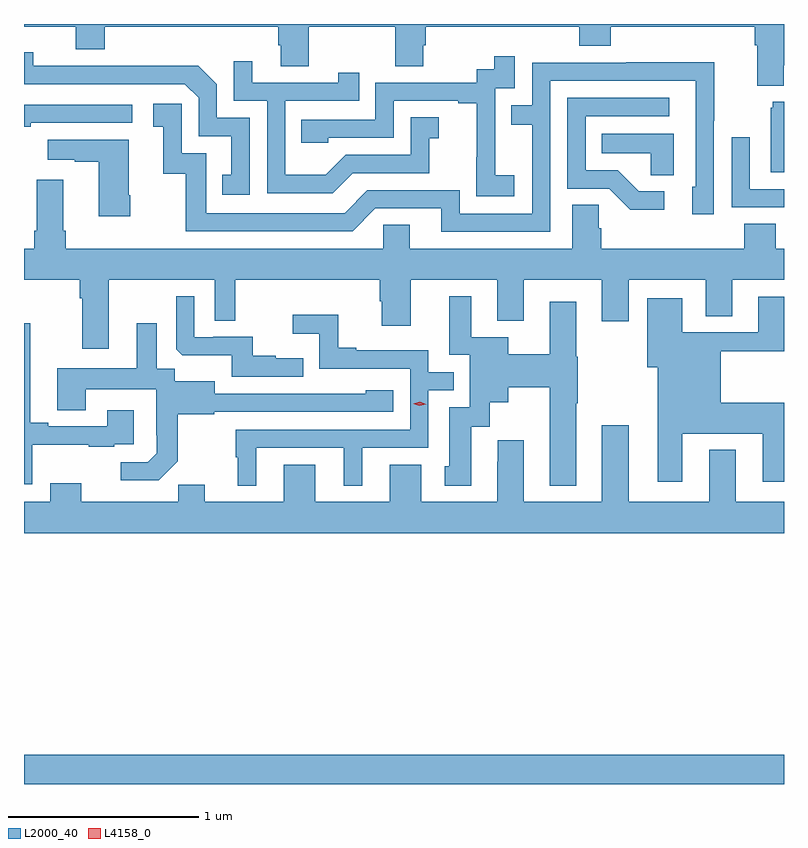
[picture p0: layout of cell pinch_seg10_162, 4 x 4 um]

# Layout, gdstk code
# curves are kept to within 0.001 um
import gdstk
lib = gdstk.Library(unit=1e-6, precision=1e-09)
def R(c, l, rs):  # rectangles x0, y0, x1, y1
    for r in rs: c.add(gdstk.rectangle(r[:2], r[2:], *l))
def P(c, l, *ps):  # polygons
    for p in ps: c.add(gdstk.Polygon(p, *l))
L2000_40 = (2000, 40)
L4158_0 = (4158, 0)

pinch_seg10_162 = lib.new_cell('pinch_seg10_162')
R(pinch_seg10_162, L2000_40, [(652.019,1251.043,656.019,1251.196)])
P(pinch_seg10_162, L2000_40, [(652.019,1255.028),(652.292,1255.028),(652.292,1254.911),(652.445,1254.911),(652.445,1255.028),(653.357,1255.028),(653.357,1254.93),(653.369,1254.93),(653.369,1254.82),(653.517,1254.82),(653.517,1255.028),(653.974,1255.028),(653.974,1254.82),(654.121,1254.82),(654.121,1254.93),(654.134,1254.93),(654.134,1255.028),(654.941,1255.028),(654.941,1254.929),(655.106,1254.929),(655.106,1255.028),(655.865,1255.028),(655.865,1254.932),(655.877,1254.932),(655.877,1254.719),(656.017,1254.719),(656.017,1254.826),(656.019,1254.826),(656.019,1255.043),(652.019,1255.043)],
  [(653.208,1254.549),(653.034,1254.549),(653.034,1254.726),(652.936,1254.824),(652.528,1254.824),(652.528,1254.822),(652.068,1254.822),(652.068,1254.895),(652.019,1254.895),(652.019,1254.726),(652.866,1254.726),(652.938,1254.654),(652.938,1254.453),(653.111,1254.453),(653.111,1254.249),(653.062,1254.249),(653.062,1254.144),(653.208,1254.144)],
  [(654.598,1254.247),(654.5,1254.247),(654.5,1254.476),(654.498,1254.476),(654.498,1254.705),(654.603,1254.705),(654.603,1254.874),(654.495,1254.874),(654.495,1254.804),(654.402,1254.804),(654.402,1254.735),(653.868,1254.735),(653.868,1254.54),(653.479,1254.54),(653.479,1254.417),(653.619,1254.417),(653.619,1254.444),(653.964,1254.444),(653.964,1254.639),(654.305,1254.639),(654.305,1254.627),(654.401,1254.627),(654.401,1254.343),(654.4,1254.343),(654.4,1254.137),(654.598,1254.137)],
  [(653.749,1254.258),(654.153,1254.258),(654.153,1254.443),(654.202,1254.443),(654.202,1254.553),(654.054,1254.553),(654.054,1254.354),(653.712,1254.354),(653.608,1254.25),(653.394,1254.25),(653.394,1254.639),(653.783,1254.639),(653.783,1254.787),(653.672,1254.787),(653.672,1254.735),(653.221,1254.735),(653.221,1254.847),(653.124,1254.847),(653.124,1254.639),(653.298,1254.639),(653.298,1254.153),(653.644,1254.153)],
  [(654.789,1254.744),(655.554,1254.744),(655.554,1254.186),(655.535,1254.186),(655.535,1254.042),(655.65,1254.042),(655.65,1254.535),(655.653,1254.535),(655.653,1254.842),(655.189,1254.842),(655.189,1254.84),(654.693,1254.84),(654.693,1254.615),(654.583,1254.615),(654.583,1254.514),(654.693,1254.514),(654.693,1254.045),(654.312,1254.045),(654.312,1254.168),(653.826,1254.168),(653.706,1254.048),(652.977,1254.048),(652.977,1254.363),(652.848,1254.363),(652.848,1254.622),(652.698,1254.622),(652.698,1254.501),(652.751,1254.501),(652.751,1254.255),(652.869,1254.255),(652.869,1253.952),(653.748,1253.952),(653.868,1254.072),(654.215,1254.072),(654.215,1253.949),(654.789,1253.949)],
  [(655.39,1254.162),(655.255,1254.162),(655.144,1254.273),(654.975,1254.273),(654.975,1254.558),(655.414,1254.558),(655.414,1254.654),(654.879,1254.654),(654.879,1254.177),(655.098,1254.177),(655.211,1254.065),(655.39,1254.065)],
  [(656.019,1254.634),(655.961,1254.634),(655.961,1254.603),(655.949,1254.603),(655.949,1254.263),(656.019,1254.263)],
  [(652.055,1254.522),(652.588,1254.522),(652.588,1254.618),(652.019,1254.618),(652.019,1254.502),(652.055,1254.502)],
  [(655.438,1254.466),(655.06,1254.466),(655.06,1254.362),(655.317,1254.362),(655.317,1254.247),(655.438,1254.247)],
  [(656.019,1254.174),(655.839,1254.174),(655.839,1254.448),(655.743,1254.448),(655.743,1254.078),(656.019,1254.078)],
  [(652.578,1254.142),(652.57,1254.142),(652.57,1254.433),(652.143,1254.433),(652.143,1254.329),(652.286,1254.329),(652.286,1254.319),(652.412,1254.319),(652.412,1254.03),(652.578,1254.03)],
  [(652.465,1253.696),(653.022,1253.696),(653.022,1253.482),(653.131,1253.482),(653.131,1253.696),(653.891,1253.696),(653.891,1253.583),(653.903,1253.583),(653.903,1253.454),(654.055,1253.454),(654.055,1253.696),(654.509,1253.696),(654.509,1253.48),(654.649,1253.48),(654.649,1253.696),(655.061,1253.696),(655.061,1253.478),(655.201,1253.478),(655.201,1253.696),(655.607,1253.696),(655.607,1253.506),(655.747,1253.506),(655.747,1253.696),(656.019,1253.696),(656.019,1253.86),(655.976,1253.86),(655.976,1253.993),(655.811,1253.993),(655.811,1253.86),(655.058,1253.86),(655.058,1253.969),(655.044,1253.969),(655.044,1254.092),(654.905,1254.092),(654.905,1253.86),(654.049,1253.86),(654.049,1253.987),(653.91,1253.987),(653.91,1253.86),(652.238,1253.86),(652.238,1253.956),(652.225,1253.956),(652.225,1254.223),(652.085,1254.223),(652.085,1253.956),(652.073,1253.956),(652.073,1253.86),(652.019,1253.86),(652.019,1253.696),(652.313,1253.696),(652.313,1253.6),(652.325,1253.6),(652.325,1253.334),(652.465,1253.334)],
  [(653.489,1253.284),(653.345,1253.284),(653.345,1253.296),(653.222,1253.296),(653.222,1253.397),(653.014,1253.397),(653.014,1253.394),(652.914,1253.394),(652.914,1253.611),(652.821,1253.611),(652.821,1253.331),(652.853,1253.3),(653.112,1253.3),(653.112,1253.187),(653.489,1253.187)],
  [(654.925,1253.048),(654.933,1253.048),(654.933,1253.292),(654.925,1253.292),(654.925,1253.581),(654.785,1253.581),(654.785,1253.304),(654.568,1253.304),(654.568,1253.395),(654.373,1253.395),(654.373,1253.611),(654.257,1253.611),(654.257,1253.301),(654.366,1253.301),(654.366,1253.025),(654.257,1253.025),(654.257,1252.716),(654.233,1252.716),(654.233,1252.614),(654.373,1252.614),(654.373,1252.922),(654.471,1252.922),(654.471,1253.051),(654.568,1253.051),(654.568,1253.132),(654.785,1253.132),(654.785,1252.613),(654.925,1252.613)],
  [(655.483,1252.886),(655.907,1252.886),(655.907,1252.635),(656.019,1252.635),(656.019,1253.05),(655.687,1253.05),(655.687,1253.32),(656.019,1253.32),(656.019,1253.608),(655.883,1253.608),(655.883,1253.421),(655.483,1253.421),(655.483,1253.599),(655.298,1253.599),(655.298,1253.237),(655.355,1253.237),(655.355,1252.635),(655.483,1252.635)],
  [(653.242,1252.812),(653.702,1252.812),(653.702,1252.613),(653.8,1252.613),(653.8,1252.812),(654.147,1252.812),(654.147,1253.115),(654.28,1253.115),(654.28,1253.211),(654.147,1253.211),(654.147,1253.325),(653.767,1253.325),(653.767,1253.338),(653.673,1253.338),(653.673,1253.513),(653.433,1253.513),(653.433,1253.414),(653.574,1253.414),(653.574,1253.229),(654.051,1253.229),(654.051,1252.908),(653.133,1252.908),(653.133,1252.764),(653.144,1252.764),(653.144,1252.613),(653.242,1252.613)],
  [(652.827,1252.743),(652.827,1252.989),(653.019,1252.989),(653.019,1253.001),(653.962,1253.001),(653.962,1253.116),(653.817,1253.116),(653.817,1253.098),(653.023,1253.097),(653.023,1253.164),(652.812,1253.164),(652.812,1253.228),(652.717,1253.228),(652.717,1253.467),(652.613,1253.467),(652.613,1253.23),(652.193,1253.23),(652.193,1253.011),(652.345,1253.011),(652.345,1253.12),(652.716,1253.12),(652.716,1252.879),(652.718,1252.879),(652.718,1252.784),(652.671,1252.737),(652.527,1252.737),(652.527,1252.643),(652.727,1252.643)],
  [(652.063,1252.829),(652.361,1252.829),(652.361,1252.818),(652.493,1252.818),(652.493,1252.83),(652.597,1252.83),(652.597,1253.011),(652.457,1253.011),(652.457,1252.926),(652.147,1252.926),(652.147,1252.945),(652.051,1252.945),(652.051,1253.467),(652.019,1253.467),(652.019,1252.62),(652.063,1252.62)],
  [(656.019,1252.528),(655.765,1252.528),(655.765,1252.801),(655.625,1252.801),(655.625,1252.528),(655.201,1252.528),(655.201,1252.93),(655.061,1252.93),(655.061,1252.528),(654.649,1252.528),(654.649,1252.852),(654.512,1252.852),(654.512,1252.739),(654.509,1252.739),(654.509,1252.528),(654.109,1252.528),(654.109,1252.723),(653.945,1252.723),(653.945,1252.528),(653.551,1252.528),(653.551,1252.723),(653.387,1252.723),(653.387,1252.528),(652.969,1252.528),(652.969,1252.619),(652.831,1252.619),(652.831,1252.528),(652.321,1252.528),(652.321,1252.627),(652.157,1252.627),(652.157,1252.528),(652.019,1252.528),(652.019,1252.364),(656.019,1252.364)])
P(pinch_seg10_162, L4158_0, [(654.1,1253.034),(654.067,1253.045),(654.066,1253.045),(654.067,1253.045),(654.101,1253.054),(654.135,1253.042),(654.135,1253.042),(654.135,1253.042)])

lib.write_gds('pinch_seg10_162.gds')
